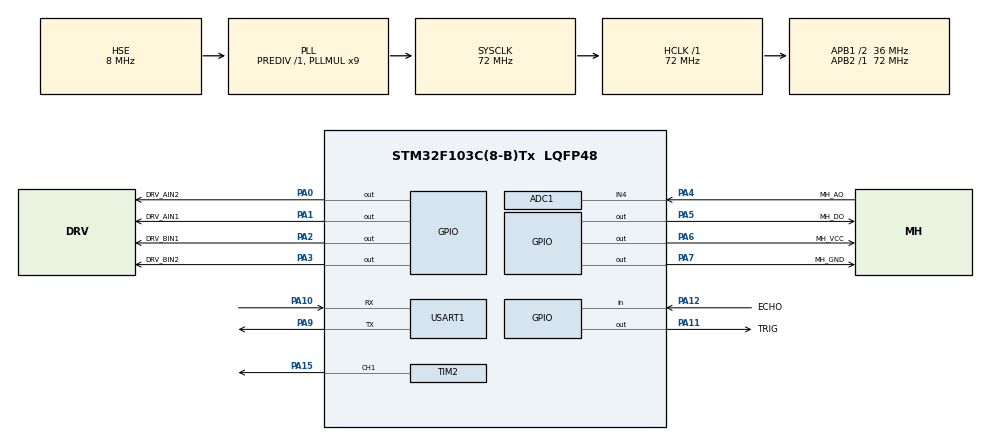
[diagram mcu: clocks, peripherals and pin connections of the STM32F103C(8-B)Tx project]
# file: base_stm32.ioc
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ADC1.Channel-4\#ChannelRegularConversion=ADC_CHANNEL_4
ADC1.ContinuousConvMode=ENABLE
ADC1.NbrOfConversionFlag=1
ADC1.Rank-4\#ChannelRegularConversion=1
ADC1.SamplingTime-4\#ChannelRegularConversion=ADC_SAMPLETIME_239CYCLES_5
ADC1.master=1
Mcu.Family=STM32F1
Mcu.Name=STM32F103C(8-B)Tx
Mcu.Package=LQFP48
NVIC.ADC1_2_IRQn=true\:0\:0\:false\:false\:true\:true\:true\:true
NVIC.PriorityGroup=NVIC_PRIORITYGROUP_4
NVIC.RTC_IRQn=true\:0\:0\:false\:false\:true\:true\:true\:true
NVIC.TIM3_IRQn=true\:0\:0\:false\:false\:true\:true\:true\:true
NVIC.USART1_IRQn=true\:0\:0\:false\:false\:true\:true\:true\:true
PA0-WKUP.GPIO_Label=DRV_AIN2
PA0-WKUP.GPIO_PuPd=GPIO_NOPULL
PA0-WKUP.Signal=GPIO_Output
PA1.GPIO_Label=DRV_AIN1
PA1.GPIO_PuPd=GPIO_NOPULL
PA1.Signal=GPIO_Output
PA10.Mode=Asynchronous
PA10.Signal=USART1_RX
PA11.GPIO_Label=TRIG
PA11.GPIO_PuPd=GPIO_NOPULL
PA11.Signal=GPIO_Output
PA12.GPIO_Label=ECHO
PA12.GPIO_PuPd=GPIO_NOPULL
PA12.Signal=GPIO_Input
PA13.Mode=Serial_Wire
PA13.Signal=SYS_JTMS-SWDIO
PA14.Mode=Serial_Wire
PA14.Signal=SYS_JTCK-SWCLK
PA15.Signal=S_TIM2_CH1_ETR
PA2.GPIO_Label=DRV_BIN1
PA2.GPIO_PuPd=GPIO_NOPULL
PA2.Signal=GPIO_Output
PA3.GPIO_Label=DRV_BIN2
PA3.GPIO_PuPd=GPIO_NOPULL
PA3.Signal=GPIO_Output
PA4.GPIO_Label=MH_AO
PA4.Signal=ADCx_IN4
PA5.GPIO_Label=MH_DO
PA5.GPIO_PuPd=GPIO_NOPULL
PA5.Signal=GPIO_Output
PA6.GPIO_Label=MH_VCC
PA6.GPIO_PuPd=GPIO_NOPULL
PA6.Signal=GPIO_Output
PA7.GPIO_Label=MH_GND
PA7.GPIO_PuPd=GPIO_NOPULL
PA7.Signal=GPIO_Output
PA9.Mode=Asynchronous
PA9.Signal=USART1_TX
PC14-OSC32_IN.Mode=LSE-External-Oscillator
PC14-OSC32_IN.Signal=RCC_OSC32_IN
PC15-OSC32_OUT.Mode=LSE-External-Oscillator
PC15-OSC32_OUT.Signal=RCC_OSC32_OUT
PD0-OSC_IN.Mode=HSE-External-Oscillator
PD0-OSC_IN.Signal=RCC_OSC_IN
PD1-OSC_OUT.Mode=HSE-External-Oscillator
PD1-OSC_OUT.Signal=RCC_OSC_OUT
ProjectManager.HeapSize=0x200
ProjectManager.StackSize=0x400
ProjectManager.TargetToolchain=MDK-ARM V5.32
RCC.ADCPresc=RCC_ADCPCLK2_DIV6
RCC.AHBFreq_Value=72000000
RCC.APB1CLKDivider=RCC_HCLK_DIV2
RCC.APB1Freq_Value=36000000
RCC.APB1TimFreq_Value=72000000
RCC.APB2Freq_Value=72000000
RCC.APB2TimFreq_Value=72000000
RCC.HCLKFreq_Value=72000000
RCC.PLLMUL=RCC_PLL_MUL9
RCC.PLLSourceVirtual=RCC_PLLSOURCE_HSE
RCC.SYSCLKFreq_VALUE=72000000
RCC.SYSCLKSource=RCC_SYSCLKSOURCE_PLLCLK
RCC.USBFreq_Value=72000000
RTC.Date=16
RTC.Format=RTC_FORMAT_BCD
RTC.Hours=15
RTC.Minutes=30
RTC.Month=RTC_MONTH_APRIL
RTC.WeekDay=RTC_WEEKDAY_TUESDAY
RTC.Year=24
SH.ADCx_IN4.0=ADC1_IN4,IN4
SH.S_TIM2_CH1_ETR.0=TIM2_CH1,PWM Generation1 CH1
TIM2.Channel-PWM\ Generation1\ CH1=TIM_CHANNEL_1
TIM2.Period=1000-1
TIM2.Prescaler=72-1
TIM3.Period=5000-1
TIM3.Prescaler=7200-1
USART1.VirtualMode=VM_ASYNC
VP_RTC_No_RTC_Output.Mode=RTC_OUT_NO
VP_RTC_VS_RTC_Activate.Mode=RTC_Enabled
VP_RTC_VS_RTC_Calendar.Mode=RTC_Calendar
VP_TIM2_VS_ClockSourceINT.Mode=Internal
VP_TIM3_VS_ClockSourceINT.Mode=Internal
board=custom

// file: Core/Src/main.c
/* USER CODE BEGIN Header */
/**
 ******************************************************************************
 * @file           : main.c
 * @brief          : Main program body
 ******************************************************************************
 * @attention
 *
 * Copyright (c) 2024 STMicroelectronics.
 * All rights reserved.
 *
 * This software is licensed under terms that can be found in the LICENSE file
 * in the root directory of this software component.
 * If no LICENSE file comes with this software, it is provided AS-IS.
 *
 ******************************************************************************
 */
/* USER CODE END Header */
#include "main.h"
#include "adc.h"
#include "rtc.h"
#include "tim.h"
#include "usart.h"
#include "gpio.h"

/* USER CODE BEGIN Includes */
#include "utils.h"
/* USER CODE END Includes */

void SystemClock_Config(void);

/* USER CODE BEGIN 0 */
void HAL_TIM_PeriodElapsedCallback(TIM_HandleTypeDef* htim) {
    if (htim->Instance == TIM2) // 判断是否为定时器2产生的中断
    {
        HAL_GPIO_TogglePin(MH_DO_GPIO_Port, MH_DO_Pin); // GPIOA6电平翻转
    } else if (htim->Instance == TIM3) // 判断是否为定时器3产生的中断
    {
        HAL_GPIO_TogglePin(MH_DO_GPIO_Port, MH_DO_Pin); // GPIOA6电平翻转
    }
}

/* USER CODE END 0 */

int main(void) {
    /* USER CODE BEGIN 1 */
    RTC_DateTypeDef GetData; // 获取日期结构体
    RTC_TimeTypeDef GetTime; // 获取时间结构体
    uint16_t Pwm = 0;
    unsigned int flag = 1;
    /* USER CODE END 1 */

    /* MCU
     * Configuration--------------------------------------------------------*/

    /* Reset of all peripherals, Initializes the Flash interface and the
     * Systick. */
    HAL_Init();

    /* Configure the system clock */
    SystemClock_Config();

    /* Initialize all configured peripherals */
    MX_GPIO_Init();
    MX_USART1_UART_Init();
    MX_ADC1_Init();
    MX_TIM3_Init();
    MX_RTC_Init();
    MX_TIM2_Init();
    /* USER CODE BEGIN 2 */
    HAL_UART_Receive_IT(&huart1, (uint8_t*)&aRxBuffer, 1);
    HAL_ADC_Start_IT(&hadc1);                 // 中断方式开启ADC
    HAL_TIM_PWM_Start(&htim2, TIM_CHANNEL_1); // 开启 定时器2 PWM通道1
    HAL_TIM_Base_Start_IT(&htim3);            // 开启定时器三中断

    Illumination_Initial();
    /* USER CODE END 2 */

    /* Infinite loop */
    while (1) {

        /* USER CODE BEGIN 3 */
        if (flag == 1) { printf("Hello world!\r\n"); }
        HAL_Delay(1000);
        // Illumination_Test();
        // Distance_Test();
        // RTC_Time_Test(&GetData, &GetTime);
        // Pwm_Test();
        // Rev_Forw_Test();
    }
    /* USER CODE END 3 */
}

void SystemClock_Config(void) {
    RCC_OscInitTypeDef RCC_OscInitStruct = {0};
    RCC_ClkInitTypeDef RCC_ClkInitStruct = {0};
    RCC_PeriphCLKInitTypeDef PeriphClkInit = {0};

    /** Initializes the RCC Oscillators according to the specified parameters
     * in the RCC_OscInitTypeDef structure.
     */
    RCC_OscInitStruct.OscillatorType =
        RCC_OSCILLATORTYPE_LSI | RCC_OSCILLATORTYPE_HSE;
    RCC_OscInitStruct.HSEState = RCC_HSE_ON;
    RCC_OscInitStruct.HSEPredivValue = RCC_HSE_PREDIV_DIV1;
    RCC_OscInitStruct.HSIState = RCC_HSI_ON;
    RCC_OscInitStruct.LSIState = RCC_LSI_ON;
    RCC_OscInitStruct.PLL.PLLState = RCC_PLL_ON;
    RCC_OscInitStruct.PLL.PLLSource = RCC_PLLSOURCE_HSE;
    RCC_OscInitStruct.PLL.PLLMUL = RCC_PLL_MUL9;
    if (HAL_RCC_OscConfig(&RCC_OscInitStruct) != HAL_OK) { Error_Handler(); }

    /** Initializes the CPU, AHB and APB buses clocks
     */
    RCC_ClkInitStruct.ClockType = RCC_CLOCKTYPE_HCLK | RCC_CLOCKTYPE_SYSCLK
                                  | RCC_CLOCKTYPE_PCLK1 | RCC_CLOCKTYPE_PCLK2;
    RCC_ClkInitStruct.SYSCLKSource = RCC_SYSCLKSOURCE_PLLCLK;
    RCC_ClkInitStruct.AHBCLKDivider = RCC_SYSCLK_DIV1;
    RCC_ClkInitStruct.APB1CLKDivider = RCC_HCLK_DIV2;
    RCC_ClkInitStruct.APB2CLKDivider = RCC_HCLK_DIV1;

    if (HAL_RCC_ClockConfig(&RCC_ClkInitStruct, FLASH_LATENCY_2) != HAL_OK) {
        Error_Handler();
    }
    PeriphClkInit.PeriphClockSelection = RCC_PERIPHCLK_RTC | RCC_PERIPHCLK_ADC;
    PeriphClkInit.RTCClockSelection = RCC_RTCCLKSOURCE_LSI;
    PeriphClkInit.AdcClockSelection = RCC_ADCPCLK2_DIV6;
    if (HAL_RCCEx_PeriphCLKConfig(&PeriphClkInit) != HAL_OK) {
        Error_Handler();
    }
}

void Error_Handler(void) {
    /* USER CODE BEGIN Error_Handler_Debug */
    /* User can add his own implementation to report the HAL error return state
     */
    __disable_irq();
    while (1) {}
    /* USER CODE END Error_Handler_Debug */
}

#ifdef USE_FULL_ASSERT
/**
 * @brief  Reports the name of the source file and the source line number
 *         where the assert_param error has occurred.
 * @param  file: pointer to the source file name
 * @param  line: assert_param error line source number
 * @retval None
 */
void assert_failed(uint8_t* file, uint32_t line) {
    /* USER CODE BEGIN 6 */
    /* User can add his own implementation to report the file name and line
       number, ex: printf("Wrong parameters value: file %s on line %d\r\n",
       file, line) */
    /* USER CODE END 6 */
}
#endif /* USE_FULL_ASSERT */
